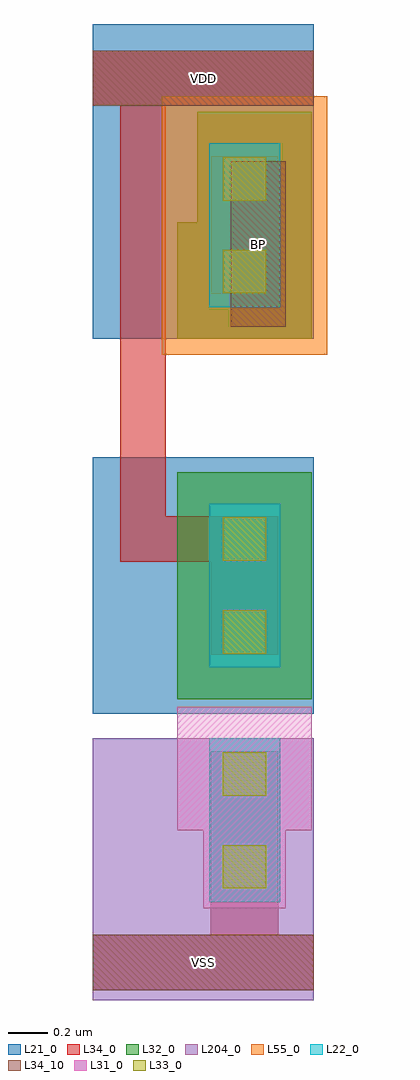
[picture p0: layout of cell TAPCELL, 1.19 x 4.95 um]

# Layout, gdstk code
import gdstk
lib = gdstk.Library(unit=1e-6, precision=1e-09)
def R(c, l, rs):  # rectangles x0, y0, x1, y1
    for r in rs: c.add(gdstk.rectangle(r[:2], r[2:], *l))
L21_0 = (21, 0)
L22_0 = (22, 0)
L31_0 = (31, 0)
L32_0 = (32, 0)
L33_0 = (33, 0)
L34_0 = (34, 0)
L34_10 = (34, 10)
L55_0 = (55, 0)
L204_0 = (204, 0)

tapcell = lib.new_cell('TAPCELL')
R(tapcell, L21_0, [(0,1.26,1.12,2.56), (0,3.16,1.12,4.755)])
R(tapcell, L22_0, [(0.59,0.305,0.95,1.135), (0.59,1.495,0.95,2.325), (0.59,3.32,0.95,4.15)])
R(tapcell, L31_0, [(0.56,0.275,0.98,0.67), (0.43,0.67,1.11,1.295)])
R(tapcell, L32_0, [(0.43,1.335,1.11,2.485), (0.43,3.16,1.11,3.75), (0.53,3.75,1.11,4.31)])
R(tapcell, L33_0, [(0.66,0.375,0.88,0.595), (0.66,0.845,0.88,1.065), (0.66,1.565,0.88,1.785), (0.66,2.035,0.88,2.255), (0.66,3.39,0.88,3.61), (0.66,3.86,0.88,4.08)])
R(tapcell, L34_0, [(0,-0.14,1.12,0.14), (0.6,0.14,0.94,1.07), (0.6,1.56,0.94,2.03), (0.14,2.03,0.94,2.26), (0.14,2.26,0.37,4.34), (0.7,3.22,0.98,3.385), (0.6,3.385,0.98,4.06), (0.6,4.06,0.94,4.085), (0,4.34,1.12,4.62)])
R(tapcell, L34_10, [(0,-0.14,1.12,0.14), (0.7,3.22,0.98,4.06), (0,4.34,1.12,4.62)])
R(tapcell, L55_0, [(0.35,3.08,1.19,4.39)])
R(tapcell, L204_0, [(0,-0.19,1.12,1.135)])
tapcell.add(gdstk.Label('VSS', (0.56,0), layer=34, texttype=10))
tapcell.add(gdstk.Label('VDD', (0.56,4.48), layer=34, texttype=10))
tapcell.add(gdstk.Label('BP', (0.84,3.64), layer=34, texttype=10))

lib.write_gds('TAPCELL.gds')
